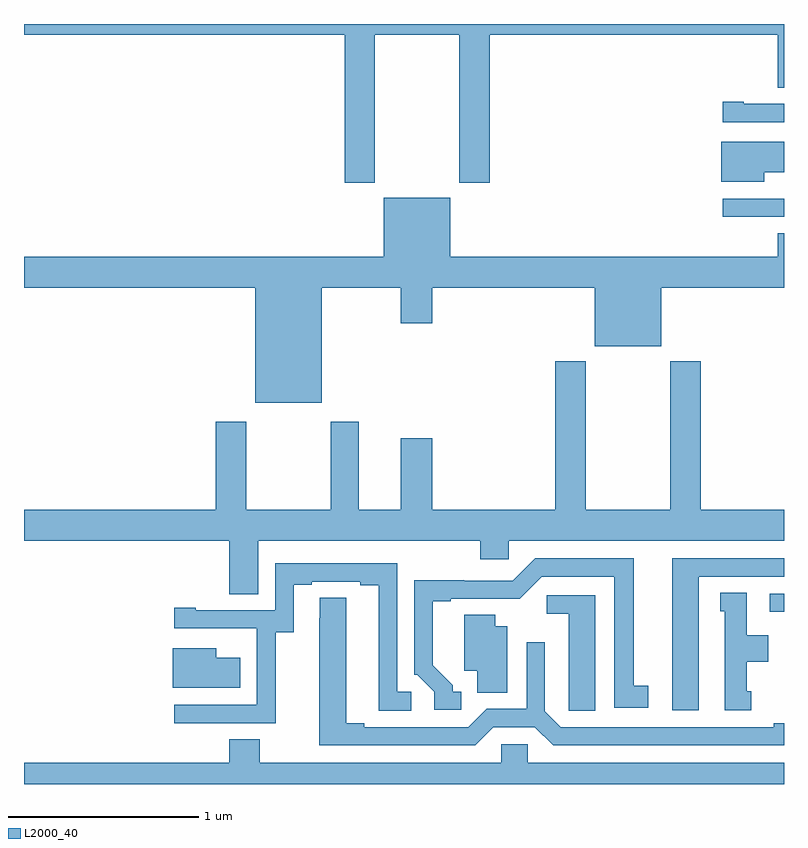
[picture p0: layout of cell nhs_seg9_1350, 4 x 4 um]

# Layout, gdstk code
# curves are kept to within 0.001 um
import gdstk
lib = gdstk.Library(unit=1e-6, precision=1e-09)
def R(c, l, rs):  # rectangles x0, y0, x1, y1
    for r in rs: c.add(gdstk.rectangle(r[:2], r[2:], *l))
def P(c, l, *ps):  # polygons
    for p in ps: c.add(gdstk.Polygon(p, *l))
L2000_40 = (2000, 40)

nhs_seg9_1350 = lib.new_cell('nhs_seg9_1350')
R(nhs_seg9_1350, L2000_40, [(190.926,1169.406,191,1169.502), (190.677,1171.485,191,1171.581)])
P(nhs_seg9_1350, L2000_40, [(187,1172.444),(188.687,1172.444),(188.687,1171.665),(188.847,1171.665),(188.847,1172.444),(189.292,1172.444),(189.292,1171.665),(189.452,1171.665),(189.452,1172.444),(190.967,1172.444),(190.967,1172.164),(191,1172.164),(191,1172.5),(187,1172.5)],
  [(191,1172.079),(190.789,1172.079),(190.789,1172.092),(190.677,1172.092),(190.677,1171.983),(191,1171.983)],
  [(190.897,1171.721),(191,1171.721),(191,1171.879),(190.67,1171.879),(190.67,1171.67),(190.897,1171.67)],
  [(188.566,1171.112),(188.984,1171.112),(188.984,1170.924),(189.148,1170.924),(189.148,1171.112),(190.004,1171.112),(190.004,1170.803),(190.354,1170.803),(190.354,1171.112),(191,1171.112),(191,1171.4),(190.967,1171.4),(190.967,1171.276),(189.244,1171.276),(189.244,1171.585),(188.894,1171.585),(188.894,1171.276),(187,1171.276),(187,1171.112),(188.216,1171.112),(188.216,1170.506),(188.566,1170.506)],
  [(188.233,1169.78),(189.401,1169.78),(189.401,1169.682),(189.552,1169.682),(189.552,1169.78),(191,1169.78),(191,1169.944),(190.562,1169.944),(190.562,1170.724),(190.402,1170.724),(190.402,1169.944),(189.957,1169.944),(189.957,1170.724),(189.797,1170.724),(189.797,1169.944),(189.148,1169.944),(189.148,1170.319),(188.984,1170.319),(188.984,1169.944),(188.761,1169.944),(188.761,1170.406),(188.614,1170.406),(188.614,1169.944),(188.169,1169.944),(188.169,1170.406),(188.009,1170.406),(188.009,1169.944),(187,1169.944),(187,1169.78),(188.081,1169.78),(188.081,1169.5),(188.233,1169.5)],
  [(189.301,1168.986),(189.256,1168.986),(189.256,1169.021),(189.151,1169.126),(189.151,1169.463),(189.247,1169.463),(189.247,1169.475),(189.608,1169.474),(189.726,1169.592),(190.106,1169.592),(190.106,1168.902),(190.285,1168.902),(190.285,1169.018),(190.21,1169.018),(190.21,1169.688),(189.69,1169.688),(189.573,1169.571),(189.317,1169.571),(189.317,1169.573),(189.054,1169.573),(189.054,1169.076),(189.069,1169.076),(189.159,1168.986),(189.159,1168.89),(189.301,1168.89)],
  [(190.552,1169.592),(191,1169.592),(191,1169.688),(190.412,1169.688),(190.412,1168.887),(190.552,1168.887)],
  [(188.325,1169.299),(188.419,1169.299),(188.419,1169.55),(188.515,1169.55),(188.515,1169.565),(188.771,1169.565),(188.771,1169.545),(188.867,1169.545),(188.867,1168.885),(189.037,1168.885),(189.037,1168.986),(188.964,1168.986),(188.964,1169.661),(188.322,1169.661),(188.322,1169.415),(187.903,1169.415),(187.903,1169.428),(187.791,1169.428),(187.791,1169.319),(188.225,1169.319),(188.225,1169.318),(188.226,1169.318),(188.226,1168.917),(187.791,1168.917),(187.791,1168.821),(188.325,1168.821)],
  [(190.828,1168.989),(190.804,1168.989),(190.804,1169.144),(190.918,1169.144),(190.918,1169.284),(190.804,1169.284),(190.804,1169.507),(190.664,1169.507),(190.664,1169.409),(190.688,1169.409),(190.688,1168.887),(190.828,1168.887)],
  [(190.006,1169.493),(189.75,1169.493),(189.75,1169.396),(189.866,1169.396),(189.866,1168.993),(189.867,1168.993),(189.867,1168.885),(190.006,1168.885)],
  [(189.471,1168.8),(189.689,1168.8),(189.785,1168.704),(191,1168.704),(191,1168.82),(190.946,1168.82),(190.946,1168.8),(189.825,1168.8),(189.741,1168.884),(189.741,1169.245),(189.645,1169.245),(189.645,1168.896),(189.435,1168.896),(189.339,1168.8),(188.791,1168.8),(188.791,1168.82),(188.695,1168.82),(188.695,1169.48),(188.556,1169.48),(188.555,1168.704),(189.375,1168.704)],
  [(189.544,1169.329),(189.481,1169.329),(189.481,1169.39),(189.317,1169.39),(189.317,1169.096),(189.386,1169.096),(189.386,1168.981),(189.544,1168.981)],
  [(188.137,1169.164),(188.011,1169.164),(188.011,1169.215),(187.784,1169.215),(187.784,1169.006),(188.137,1169.006)],
  [(191,1168.612),(189.651,1168.612),(189.651,1168.71),(189.513,1168.71),(189.513,1168.612),(188.241,1168.612),(188.241,1168.736),(188.081,1168.736),(188.081,1168.612),(187,1168.612),(187,1168.5),(191,1168.5)])

lib.write_gds('nhs_seg9_1350.gds')
